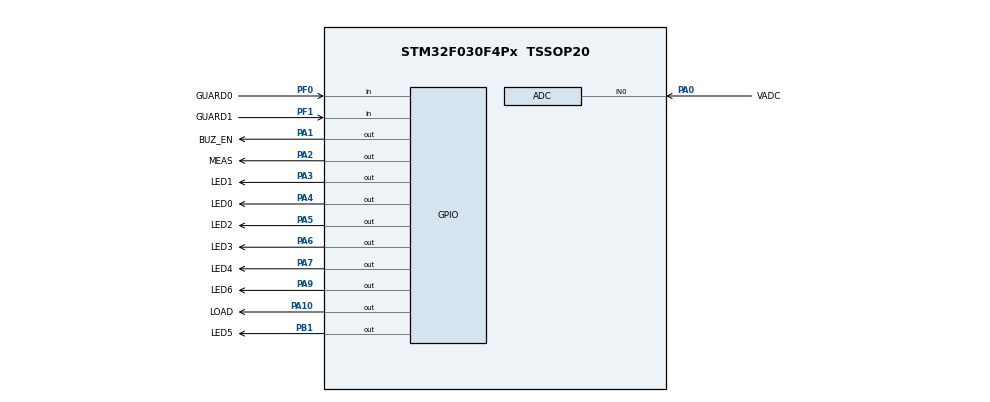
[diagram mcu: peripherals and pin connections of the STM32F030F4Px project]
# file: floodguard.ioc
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ADC.ClockPrescaler=ADC_CLOCK_ASYNC_DIV1
ADC.ContinuousConvMode=DISABLE
ADC.DMAContinuousRequests=DISABLE
ADC.DataAlign=ADC_DATAALIGN_RIGHT
ADC.DiscontinuousConvMode=ENABLE
ADC.EOCSelection=ADC_EOC_SINGLE_CONV
ADC.EnableAnalogWatchDog=false
ADC.ExternalTrigConv=ADC_SOFTWARE_START
ADC.ExternalTrigConvEdge=ADC_EXTERNALTRIGCONVEDGE_NONE
ADC.LowPowerAutoPowerOff=DISABLE
ADC.LowPowerAutoWait=DISABLE
ADC.Overrun=ADC_OVR_DATA_OVERWRITTEN
ADC.Resolution=ADC_RESOLUTION_12B
ADC.SamplingTime=ADC_SAMPLETIME_13CYCLES_5
ADC.ScanConvMode=ADC_SCAN_DIRECTION_FORWARD
Mcu.Family=STM32F0
Mcu.Name=STM32F030F4Px
Mcu.Package=TSSOP20
PA0.GPIO_Label=VADC
PA0.Mode=IN0
PA0.Signal=ADC_IN0
PA1.GPIO_Label=BUZ_EN
PA1.PinState=GPIO_PIN_SET
PA1.Signal=GPIO_Output
PA10.GPIO_Label=LOAD
PA10.Signal=GPIO_Output
PA2.GPIO_Label=MEAS
PA2.Signal=GPIO_Output
PA3.GPIO_Label=LED1
PA3.Signal=GPIO_Output
PA4.GPIO_Label=LED0
PA4.Signal=GPIO_Output
PA5.GPIO_Label=LED2
PA5.Signal=GPIO_Output
PA6.GPIO_Label=LED3
PA6.Signal=GPIO_Output
PA7.GPIO_Label=LED4
PA7.Signal=GPIO_Output
PA9.GPIO_Label=LED6
PA9.Signal=GPIO_Output
PB1.GPIO_Label=LED5
PB1.Signal=GPIO_Output
PF0-OSC_IN.GPIO_Label=GUARD0
PF0-OSC_IN.Signal=GPIO_Input
PF1-OSC_OUT.GPIO_Label=GUARD1
PF1-OSC_OUT.Signal=GPIO_Input
ProjectManager.HeapSize=0x200
ProjectManager.StackSize=0x400
ProjectManager.TargetToolchain=Makefile
VP_ADC_Vref_Input.Mode=IN-Vrefint
board=floodguard

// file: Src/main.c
/**
  ******************************************************************************
  * @file           : main.c
  * @brief          : Main program body
  ******************************************************************************
  ** This notice applies to any and all portions of this file
  * that are not between comment pairs USER CODE BEGIN and
  * USER CODE END. Other portions of this file, whether
  * inserted by the user or by software development tools
  * are owned by their respective copyright owners.
  *
  * COPYRIGHT(c) 2018 STMicroelectronics
  *
  * Redistribution and use in source and binary forms, with or without modification,
  * are permitted provided that the following conditions are met:
  *   1. Redistributions of source code must retain the above copyright notice,
  *      this list of conditions and the following disclaimer.
  *   2. Redistributions in binary form must reproduce the above copyright notice,
  *      this list of conditions and the following disclaimer in the documentation
  *      and/or other materials provided with the distribution.
  *   3. Neither the name of STMicroelectronics nor the names of its contributors
  *      may be used to endorse or promote products derived from this software
  *      without specific prior written permission.
  *
  * THIS SOFTWARE IS PROVIDED BY THE COPYRIGHT HOLDERS AND CONTRIBUTORS "AS IS"
  * AND ANY EXPRESS OR IMPLIED WARRANTIES, INCLUDING, BUT NOT LIMITED TO, THE
  * IMPLIED WARRANTIES OF MERCHANTABILITY AND FITNESS FOR A PARTICULAR PURPOSE ARE
  * DISCLAIMED. IN NO EVENT SHALL THE COPYRIGHT HOLDER OR CONTRIBUTORS BE LIABLE
  * FOR ANY DIRECT, INDIRECT, INCIDENTAL, SPECIAL, EXEMPLARY, OR CONSEQUENTIAL
  * DAMAGES (INCLUDING, BUT NOT LIMITED TO, PROCUREMENT OF SUBSTITUTE GOODS OR
  * SERVICES; LOSS OF USE, DATA, OR PROFITS; OR BUSINESS INTERRUPTION) HOWEVER
  * CAUSED AND ON ANY THEORY OF LIABILITY, WHETHER IN CONTRACT, STRICT LIABILITY,
  * OR TORT (INCLUDING NEGLIGENCE OR OTHERWISE) ARISING IN ANY WAY OUT OF THE USE
  * OF THIS SOFTWARE, EVEN IF ADVISED OF THE POSSIBILITY OF SUCH DAMAGE.
  *
  ******************************************************************************
  */
#include "main.h"
#include "stm32f0xx_hal.h"
#include <stdbool.h>

/* USER CODE BEGIN Includes */
#include "stm32f0xx_hal_adc_ex.h"

/* USER CODE END Includes */

ADC_HandleTypeDef hadc;

/* USER CODE BEGIN PV */
/* Private variables ---------------------------------------------------------*/
float vdd  = 0;
float vbat = 0;
uint8_t guard0 = 0;
uint8_t guard1 = 0;

#define CLOSED_CYCLES_MAX 2 // How many cycles keep LOAD enabled.
uint8_t closed_cycles __attribute__ ((section (".noinit")));

/* USER CODE END PV */

void SystemClock_Config(void);
static void MX_GPIO_Init(void);
static void MX_ADC_Init(void);

/* USER CODE BEGIN PFP */
/* Private function prototypes -----------------------------------------------*/

/* USER CODE END PFP */

/* USER CODE BEGIN 0 */
/**
  * @brief  Performs all measurements (Vdd, Vbat and GUARDx inputs)
  *
  * @retval None
  */
void getInputs( void )
{
  // Enable measurements
  HAL_GPIO_WritePin(MEAS_GPIO_Port, MEAS_Pin, GPIO_PIN_SET);

  // Wait for inputs to settle
  HAL_Delay(10);

  // Calibrate internal ADC
  HAL_ADCEx_Calibration_Start(&hadc);

  // Perform measurements
  HAL_ADC_Start(&hadc);
  uint16_t vref_cal = *(uint16_t*)0x1FFFF7BA;
  HAL_ADC_PollForConversion(&hadc,10);
  /// Get ADC0
  uint32_t vbat_raw = HAL_ADC_GetValue(&hadc);
  HAL_ADC_Start(&hadc);
  HAL_ADC_PollForConversion(&hadc,10);
  /// Get VREFINT
  uint32_t vref_raw = HAL_ADC_GetValue(&hadc);

  guard0 = (HAL_GPIO_ReadPin(GUARD0_GPIO_Port, GUARD0_Pin) == GPIO_PIN_RESET);
  guard1 = (HAL_GPIO_ReadPin(GUARD1_GPIO_Port, GUARD1_Pin) == GPIO_PIN_RESET);

  // Set global variables
  vdd  = 3.0f * vref_cal / vref_raw;
  vbat = 2.0f * vdd * vbat_raw / 4096; ///< 2.0 is an external voltage divider

  // Disable ADC
  HAL_ADC_Stop(&hadc);
  // Disable measurement pin
  HAL_GPIO_WritePin(MEAS_GPIO_Port, MEAS_Pin, GPIO_PIN_RESET);
}

/**
  * @brief  Shows information on the LED display
  * @details Shows digits from 0 to 9, letters A to F. 0x10 will be displayed as L. The rest will be displayed as blank
  * @retval None
  */
void setLeds( uint8_t value )
{
  switch(value)
  {
    case 0x0:
      HAL_GPIO_WritePin(LED0_GPIO_Port, LED0_Pin, GPIO_PIN_SET);
      HAL_GPIO_WritePin(LED1_GPIO_Port, LED1_Pin, GPIO_PIN_SET);
      HAL_GPIO_WritePin(LED2_GPIO_Port, LED2_Pin, GPIO_PIN_SET);
      HAL_GPIO_WritePin(LED3_GPIO_Port, LED3_Pin, GPIO_PIN_SET);
      HAL_GPIO_WritePin(LED4_GPIO_Port, LED4_Pin, GPIO_PIN_SET);
      HAL_GPIO_WritePin(LED5_GPIO_Port, LED5_Pin, GPIO_PIN_SET);
      break;
    case 0x1:
      HAL_GPIO_WritePin(LED1_GPIO_Port, LED1_Pin, GPIO_PIN_SET);
      HAL_GPIO_WritePin(LED2_GPIO_Port, LED2_Pin, GPIO_PIN_SET);
      break;
    case 0x2:
      HAL_GPIO_WritePin(LED0_GPIO_Port, LED0_Pin, GPIO_PIN_SET);
      HAL_GPIO_WritePin(LED1_GPIO_Port, LED1_Pin, GPIO_PIN_SET);
      HAL_GPIO_WritePin(LED3_GPIO_Port, LED3_Pin, GPIO_PIN_SET);
      HAL_GPIO_WritePin(LED4_GPIO_Port, LED4_Pin, GPIO_PIN_SET);
      HAL_GPIO_WritePin(LED6_GPIO_Port, LED6_Pin, GPIO_PIN_SET);
      break;
    case 0x3:
      HAL_GPIO_WritePin(LED0_GPIO_Port, LED0_Pin, GPIO_PIN_SET);
      HAL_GPIO_WritePin(LED1_GPIO_Port, LED1_Pin, GPIO_PIN_SET);
      HAL_GPIO_WritePin(LED2_GPIO_Port, LED2_Pin, GPIO_PIN_SET);
      HAL_GPIO_WritePin(LED3_GPIO_Port, LED3_Pin, GPIO_PIN_SET);
      HAL_GPIO_WritePin(LED6_GPIO_Port, LED6_Pin, GPIO_PIN_SET);
      break;
    case 0x4:
      HAL_GPIO_WritePin(LED1_GPIO_Port, LED1_Pin, GPIO_PIN_SET);
      HAL_GPIO_WritePin(LED2_GPIO_Port, LED2_Pin, GPIO_PIN_SET);
      HAL_GPIO_WritePin(LED5_GPIO_Port, LED5_Pin, GPIO_PIN_SET);
      HAL_GPIO_WritePin(LED6_GPIO_Port, LED6_Pin, GPIO_PIN_SET);
      break;
    case 0x5:
      HAL_GPIO_WritePin(LED0_GPIO_Port, LED0_Pin, GPIO_PIN_SET);
      HAL_GPIO_WritePin(LED2_GPIO_Port, LED2_Pin, GPIO_PIN_SET);
      HAL_GPIO_WritePin(LED3_GPIO_Port, LED3_Pin, GPIO_PIN_SET);
      HAL_GPIO_WritePin(LED5_GPIO_Port, LED5_Pin, GPIO_PIN_SET);
      HAL_GPIO_WritePin(LED6_GPIO_Port, LED6_Pin, GPIO_PIN_SET);
      break;
    case 0x6:
      HAL_GPIO_WritePin(LED0_GPIO_Port, LED0_Pin, GPIO_PIN_SET);
      HAL_GPIO_WritePin(LED2_GPIO_Port, LED2_Pin, GPIO_PIN_SET);
      HAL_GPIO_WritePin(LED3_GPIO_Port, LED3_Pin, GPIO_PIN_SET);
      HAL_GPIO_WritePin(LED4_GPIO_Port, LED4_Pin, GPIO_PIN_SET);
      HAL_GPIO_WritePin(LED5_GPIO_Port, LED5_Pin, GPIO_PIN_SET);
      HAL_GPIO_WritePin(LED6_GPIO_Port, LED6_Pin, GPIO_PIN_SET);
      break;
    case 0x7:
      HAL_GPIO_WritePin(LED0_GPIO_Port, LED0_Pin, GPIO_PIN_SET);
      HAL_GPIO_WritePin(LED1_GPIO_Port, LED1_Pin, GPIO_PIN_SET);
      HAL_GPIO_WritePin(LED2_GPIO_Port, LED2_Pin, GPIO_PIN_SET);
      break;
    case 0x8:
      HAL_GPIO_WritePin(LED0_GPIO_Port, LED0_Pin, GPIO_PIN_SET);
      HAL_GPIO_WritePin(LED1_GPIO_Port, LED1_Pin, GPIO_PIN_SET);
      HAL_GPIO_WritePin(LED2_GPIO_Port, LED2_Pin, GPIO_PIN_SET);
      HAL_GPIO_WritePin(LED3_GPIO_Port, LED3_Pin, GPIO_PIN_SET);
      HAL_GPIO_WritePin(LED4_GPIO_Port, LED4_Pin, GPIO_PIN_SET);
      HAL_GPIO_WritePin(LED5_GPIO_Port, LED5_Pin, GPIO_PIN_SET);
      HAL_GPIO_WritePin(LED6_GPIO_Port, LED6_Pin, GPIO_PIN_SET);
      break;
    case 0x9:
      HAL_GPIO_WritePin(LED0_GPIO_Port, LED0_Pin, GPIO_PIN_SET);
      HAL_GPIO_WritePin(LED1_GPIO_Port, LED1_Pin, GPIO_PIN_SET);
      HAL_GPIO_WritePin(LED2_GPIO_Port, LED2_Pin, GPIO_PIN_SET);
      HAL_GPIO_WritePin(LED3_GPIO_Port, LED3_Pin, GPIO_PIN_SET);
      HAL_GPIO_WritePin(LED5_GPIO_Port, LED5_Pin, GPIO_PIN_SET);
      HAL_GPIO_WritePin(LED6_GPIO_Port, LED6_Pin, GPIO_PIN_SET);
      break;
    case 0xA:
      HAL_GPIO_WritePin(LED0_GPIO_Port, LED0_Pin, GPIO_PIN_SET);
      HAL_GPIO_WritePin(LED1_GPIO_Port, LED1_Pin, GPIO_PIN_SET);
      HAL_GPIO_WritePin(LED2_GPIO_Port, LED2_Pin, GPIO_PIN_SET);
      HAL_GPIO_WritePin(LED4_GPIO_Port, LED4_Pin, GPIO_PIN_SET);
      HAL_GPIO_WritePin(LED5_GPIO_Port, LED5_Pin, GPIO_PIN_SET);
      HAL_GPIO_WritePin(LED6_GPIO_Port, LED6_Pin, GPIO_PIN_SET);
      break;
    case 0xB:
      HAL_GPIO_WritePin(LED2_GPIO_Port, LED2_Pin, GPIO_PIN_SET);
      HAL_GPIO_WritePin(LED3_GPIO_Port, LED3_Pin, GPIO_PIN_SET);
      HAL_GPIO_WritePin(LED4_GPIO_Port, LED4_Pin, GPIO_PIN_SET);
      HAL_GPIO_WritePin(LED5_GPIO_Port, LED5_Pin, GPIO_PIN_SET);
      HAL_GPIO_WritePin(LED6_GPIO_Port, LED6_Pin, GPIO_PIN_SET);
      break;
    case 0xC:
      HAL_GPIO_WritePin(LED0_GPIO_Port, LED0_Pin, GPIO_PIN_SET);
      HAL_GPIO_WritePin(LED3_GPIO_Port, LED3_Pin, GPIO_PIN_SET);
      HAL_GPIO_WritePin(LED4_GPIO_Port, LED4_Pin, GPIO_PIN_SET);
      HAL_GPIO_WritePin(LED5_GPIO_Port, LED5_Pin, GPIO_PIN_SET);
      break;
    case 0xD:
      HAL_GPIO_WritePin(LED1_GPIO_Port, LED1_Pin, GPIO_PIN_SET);
      HAL_GPIO_WritePin(LED2_GPIO_Port, LED2_Pin, GPIO_PIN_SET);
      HAL_GPIO_WritePin(LED3_GPIO_Port, LED3_Pin, GPIO_PIN_SET);
      HAL_GPIO_WritePin(LED4_GPIO_Port, LED4_Pin, GPIO_PIN_SET);
      HAL_GPIO_WritePin(LED6_GPIO_Port, LED6_Pin, GPIO_PIN_SET);
      break;
    case 0xE:
      HAL_GPIO_WritePin(LED0_GPIO_Port, LED0_Pin, GPIO_PIN_SET);
      HAL_GPIO_WritePin(LED3_GPIO_Port, LED3_Pin, GPIO_PIN_SET);
      HAL_GPIO_WritePin(LED4_GPIO_Port, LED4_Pin, GPIO_PIN_SET);
      HAL_GPIO_WritePin(LED5_GPIO_Port, LED5_Pin, GPIO_PIN_SET);
      HAL_GPIO_WritePin(LED6_GPIO_Port, LED6_Pin, GPIO_PIN_SET);
      break;
    case 0xF:
      HAL_GPIO_WritePin(LED0_GPIO_Port, LED0_Pin, GPIO_PIN_SET);
      HAL_GPIO_WritePin(LED4_GPIO_Port, LED4_Pin, GPIO_PIN_SET);
      HAL_GPIO_WritePin(LED5_GPIO_Port, LED5_Pin, GPIO_PIN_SET);
      HAL_GPIO_WritePin(LED6_GPIO_Port, LED6_Pin, GPIO_PIN_SET);
      break;
    case 0x10: // "L"
      HAL_GPIO_WritePin(LED3_GPIO_Port, LED3_Pin, GPIO_PIN_SET);
      HAL_GPIO_WritePin(LED4_GPIO_Port, LED4_Pin, GPIO_PIN_SET);
      HAL_GPIO_WritePin(LED5_GPIO_Port, LED5_Pin, GPIO_PIN_SET);
      break;
    default:
      HAL_GPIO_WritePin(LED0_GPIO_Port, LED0_Pin, GPIO_PIN_RESET);
      HAL_GPIO_WritePin(LED1_GPIO_Port, LED1_Pin, GPIO_PIN_RESET);
      HAL_GPIO_WritePin(LED2_GPIO_Port, LED2_Pin, GPIO_PIN_RESET);
      HAL_GPIO_WritePin(LED3_GPIO_Port, LED3_Pin, GPIO_PIN_RESET);
      HAL_GPIO_WritePin(LED4_GPIO_Port, LED4_Pin, GPIO_PIN_RESET);
      HAL_GPIO_WritePin(LED5_GPIO_Port, LED5_Pin, GPIO_PIN_RESET);
      HAL_GPIO_WritePin(LED6_GPIO_Port, LED6_Pin, GPIO_PIN_RESET);
      break;
  }
}
/* USER CODE END 0 */

int main(void)
{

  /* MCU Configuration----------------------------------------------------------*/

  /* Reset of all peripherals, Initializes the Flash interface and the Systick. */
  HAL_Init();

  /* Configure the system clock */
  SystemClock_Config();

  /* Initialize all configured peripherals */
  MX_GPIO_Init();
  MX_ADC_Init();

  /* Infinite loop */
  /* USER CODE BEGIN WHILE */

  getInputs();
  // Clear LEDs
  setLeds(0xFF);

  if ((guard0 != 0) || (guard1 != 0) || (vbat < 3.3f))
  {
    // Enable load only for the specified number of cycles
    if (closed_cycles < CLOSED_CYCLES_MAX)
    {
        closed_cycles++;
        // Flood detected or battery is low, enable LOAD
        HAL_GPIO_WritePin(LOAD_GPIO_Port, LOAD_Pin, GPIO_PIN_SET);
    }
    if ((guard0 != 0) && (guard1 == 0))
    {
      setLeds(0x0); // GUARD0 error
    }
    else if ((guard0 == 0) && (guard1 != 0))
    {
      setLeds(0x1); // GUARD1 error
    }
    else if ((guard0 != 0) && (guard1 != 0))
    {
      setLeds(0xb); // Both GUARDs error
    }
    else
    {
      setLeds(0x10); // Battery low, will be displayed as "L"
    }

    // 100ms beep
    HAL_GPIO_WritePin(BUZ_EN_GPIO_Port, BUZ_EN_Pin, GPIO_PIN_RESET);
    HAL_Delay(100);
    HAL_GPIO_WritePin(BUZ_EN_GPIO_Port, BUZ_EN_Pin, GPIO_PIN_SET);
    while(1){};
  }
  else
  {
    // Clear if everything is OK
    closed_cycles = 0;
    if (vbat < 3.4f)
    {
      setLeds(0x1);
      HAL_GPIO_WritePin(BUZ_EN_GPIO_Port, BUZ_EN_Pin, GPIO_PIN_RESET);
    }
    else if (vbat < 3.5f)
    {
      setLeds(0x2);
    }
    else if (vbat < 3.6f)
    {
      setLeds(0x3);
    }
    else if (vbat < 3.7f)
    {
      setLeds(0x4);
    }
    else if (vbat < 3.8f)
    {
      setLeds(0x5);
    }
    else if (vbat < 3.9f)
    {
      setLeds(0x6);
    }
    else if (vbat < 4.0f)
    {
      setLeds(0x7);
    }
    else if (vbat < 4.1f)
    {
      setLeds(0x8);
    }
    else if (vbat < 4.2f)
    {
      setLeds(0x9);
    }
    /// Wait a bit before disabling LEDs
    HAL_Delay(100);
    setLeds(0xFF);
    // Disable beeper
    HAL_GPIO_WritePin(BUZ_EN_GPIO_Port, BUZ_EN_Pin, GPIO_PIN_SET);
  }

#ifdef RELEASE
  HAL_PWR_EnterSTANDBYMode();
#endif
  while (1)
  {
  /* USER CODE END WHILE */

  }

}

void SystemClock_Config(void)
{

  RCC_OscInitTypeDef RCC_OscInitStruct;
  RCC_ClkInitTypeDef RCC_ClkInitStruct;

    /**Initializes the CPU, AHB and APB busses clocks
    */
  RCC_OscInitStruct.OscillatorType = RCC_OSCILLATORTYPE_HSI|RCC_OSCILLATORTYPE_HSI14;
  RCC_OscInitStruct.HSIState = RCC_HSI_ON;
  RCC_OscInitStruct.HSI14State = RCC_HSI14_ON;
  RCC_OscInitStruct.HSICalibrationValue = 16;
  RCC_OscInitStruct.HSI14CalibrationValue = 16;
  RCC_OscInitStruct.PLL.PLLState = RCC_PLL_NONE;
  if (HAL_RCC_OscConfig(&RCC_OscInitStruct) != HAL_OK)
  {
    _Error_Handler(__FILE__, __LINE__);
  }

    /**Initializes the CPU, AHB and APB busses clocks
    */
  RCC_ClkInitStruct.ClockType = RCC_CLOCKTYPE_HCLK|RCC_CLOCKTYPE_SYSCLK
                              |RCC_CLOCKTYPE_PCLK1;
  RCC_ClkInitStruct.SYSCLKSource = RCC_SYSCLKSOURCE_HSI;
  RCC_ClkInitStruct.AHBCLKDivider = RCC_SYSCLK_DIV1;
  RCC_ClkInitStruct.APB1CLKDivider = RCC_HCLK_DIV1;

  if (HAL_RCC_ClockConfig(&RCC_ClkInitStruct, FLASH_LATENCY_0) != HAL_OK)
  {
    _Error_Handler(__FILE__, __LINE__);
  }

    /**Configure the Systick interrupt time
    */
  HAL_SYSTICK_Config(HAL_RCC_GetHCLKFreq()/1000);

    /**Configure the Systick
    */
  HAL_SYSTICK_CLKSourceConfig(SYSTICK_CLKSOURCE_HCLK);

  /* SysTick_IRQn interrupt configuration */
  HAL_NVIC_SetPriority(SysTick_IRQn, 0, 0);
}

/* ADC init function */
static void MX_ADC_Init(void)
{

  ADC_ChannelConfTypeDef sConfig;

    /**Configure the global features of the ADC (Clock, Resolution, Data Alignment and number of conversion)
    */
  hadc.Instance = ADC1;
  hadc.Init.ClockPrescaler = ADC_CLOCK_ASYNC_DIV1;
  hadc.Init.Resolution = ADC_RESOLUTION_12B;
  hadc.Init.DataAlign = ADC_DATAALIGN_RIGHT;
  hadc.Init.ScanConvMode = ADC_SCAN_DIRECTION_FORWARD;
  hadc.Init.EOCSelection = ADC_EOC_SINGLE_CONV;
  hadc.Init.LowPowerAutoWait = DISABLE;
  hadc.Init.LowPowerAutoPowerOff = DISABLE;
  hadc.Init.ContinuousConvMode = DISABLE;
  hadc.Init.DiscontinuousConvMode = ENABLE;
  hadc.Init.ExternalTrigConv = ADC_SOFTWARE_START;
  hadc.Init.ExternalTrigConvEdge = ADC_EXTERNALTRIGCONVEDGE_NONE;
  hadc.Init.DMAContinuousRequests = DISABLE;
  hadc.Init.Overrun = ADC_OVR_DATA_OVERWRITTEN;
  if (HAL_ADC_Init(&hadc) != HAL_OK)
  {
    _Error_Handler(__FILE__, __LINE__);
  }

    /**Configure for the selected ADC regular channel to be converted.
    */
  sConfig.Channel = ADC_CHANNEL_0;
  sConfig.Rank = ADC_RANK_CHANNEL_NUMBER;
  sConfig.SamplingTime = ADC_SAMPLETIME_13CYCLES_5;
  if (HAL_ADC_ConfigChannel(&hadc, &sConfig) != HAL_OK)
  {
    _Error_Handler(__FILE__, __LINE__);
  }

    /**Configure for the selected ADC regular channel to be converted.
    */
  sConfig.Channel = ADC_CHANNEL_VREFINT;
  if (HAL_ADC_ConfigChannel(&hadc, &sConfig) != HAL_OK)
  {
    _Error_Handler(__FILE__, __LINE__);
  }

}

/** Configure pins as
        * Analog
        * Input
        * Output
        * EVENT_OUT
        * EXTI
*/
static void MX_GPIO_Init(void)
{

  GPIO_InitTypeDef GPIO_InitStruct;

  /* GPIO Ports Clock Enable */
  __HAL_RCC_GPIOF_CLK_ENABLE();
  __HAL_RCC_GPIOA_CLK_ENABLE();
  __HAL_RCC_GPIOB_CLK_ENABLE();

  /*Configure GPIO pin Output Level */
  HAL_GPIO_WritePin(BUZ_EN_GPIO_Port, BUZ_EN_Pin, GPIO_PIN_SET);

  /*Configure GPIO pin Output Level */
  HAL_GPIO_WritePin(GPIOA, MEAS_Pin|LED1_Pin|LED0_Pin|LED2_Pin
                          |LED3_Pin|LED4_Pin|LED6_Pin|LOAD_Pin, GPIO_PIN_RESET);

  /*Configure GPIO pin Output Level */
  HAL_GPIO_WritePin(LED5_GPIO_Port, LED5_Pin, GPIO_PIN_RESET);

  /*Configure GPIO pins : GUARD0_Pin GUARD1_Pin */
  GPIO_InitStruct.Pin = GUARD0_Pin|GUARD1_Pin;
  GPIO_InitStruct.Mode = GPIO_MODE_INPUT;
  GPIO_InitStruct.Pull = GPIO_NOPULL;
  HAL_GPIO_Init(GPIOF, &GPIO_InitStruct);

  /*Configure GPIO pins : BUZ_EN_Pin MEAS_Pin LED1_Pin LED0_Pin
                           LED2_Pin LED3_Pin LED4_Pin LED6_Pin
                           LOAD_Pin */
  GPIO_InitStruct.Pin = BUZ_EN_Pin|MEAS_Pin|LED1_Pin|LED0_Pin
                          |LED2_Pin|LED3_Pin|LED4_Pin|LED6_Pin
                          |LOAD_Pin;
  GPIO_InitStruct.Mode = GPIO_MODE_OUTPUT_PP;
  GPIO_InitStruct.Pull = GPIO_NOPULL;
  GPIO_InitStruct.Speed = GPIO_SPEED_FREQ_LOW;
  HAL_GPIO_Init(GPIOA, &GPIO_InitStruct);

  /*Configure GPIO pin : LED5_Pin */
  GPIO_InitStruct.Pin = LED5_Pin;
  GPIO_InitStruct.Mode = GPIO_MODE_OUTPUT_PP;
  GPIO_InitStruct.Pull = GPIO_NOPULL;
  GPIO_InitStruct.Speed = GPIO_SPEED_FREQ_LOW;
  HAL_GPIO_Init(LED5_GPIO_Port, &GPIO_InitStruct);

}

void _Error_Handler(char *file, int line)
{
  while(1)
  {
  }
}

/************************ (C) COPYRIGHT STMicroelectronics *****END OF FILE****/
